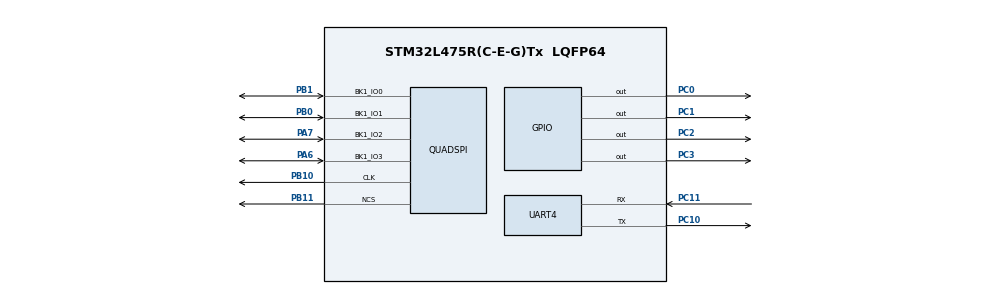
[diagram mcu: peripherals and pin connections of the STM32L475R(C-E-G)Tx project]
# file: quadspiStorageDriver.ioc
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Mcu.Family=STM32L4
Mcu.Name=STM32L475R(C-E-G)Tx
Mcu.Package=LQFP64
NVIC.PriorityGroup=NVIC_PRIORITYGROUP_4
NVIC.UART4_IRQn=true\:0\:0\:false\:false\:true\:true\:true\:true
PA6.Mode=Single Bank
PA6.Signal=QUADSPI_BK1_IO3
PA7.Mode=Single Bank
PA7.Signal=QUADSPI_BK1_IO2
PB0.Mode=Single Bank
PB0.Signal=QUADSPI_BK1_IO1
PB1.Mode=Single Bank
PB1.Signal=QUADSPI_BK1_IO0
PB10.Mode=Single Bank
PB10.Signal=QUADSPI_CLK
PB11.Mode=Single Bank
PB11.Signal=QUADSPI_NCS
PC0.Signal=GPIO_Output
PC1.Signal=GPIO_Output
PC10.Mode=Asynchronous
PC10.Signal=UART4_TX
PC11.Mode=Asynchronous
PC11.Signal=UART4_RX
PC2.Signal=GPIO_Output
PC3.Signal=GPIO_Output
ProjectManager.HeapSize=0x200
ProjectManager.StackSize=0x400
ProjectManager.TargetToolchain=CMake
QUADSPI.ClockPrescaler-Single\ Bank=1
QUADSPI.FifoThreshold-Single\ Bank=4
QUADSPI.SampleShifting-Single\ Bank=QSPI_SAMPLE_SHIFTING_HALFCYCLE
RCC.HSE_VALUE=8000000
RCC.HSI_VALUE=16000000
RCC.LSE_VALUE=32768
RCC.MSI_VALUE=4000000
RCC.VCOOutputFreq_Value=32000000
board=custom

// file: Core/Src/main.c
/* USER CODE BEGIN Header */
/**
  ******************************************************************************
  * @file           : main.c
  * @brief          : Main program body
  ******************************************************************************
  * @attention
  *
  * Copyright (c) 2025 STMicroelectronics.
  * All rights reserved.
  *
  * This software is licensed under terms that can be found in the LICENSE file
  * in the root directory of this software component.
  * If no LICENSE file comes with this software, it is provided AS-IS.
  *
  ******************************************************************************
  */
/* USER CODE END Header */
#include "main.h"

/* USER CODE BEGIN Includes */

#include "w25n01gv.h"
#include "lfs.h"
#include "lfs_util.h"

/* USER CODE END Includes */

/* USER CODE BEGIN PD */

#define LOGICAL_PAGE_SIZE 2048

/* USER CODE END PD */

QSPI_HandleTypeDef hqspi;

UART_HandleTypeDef huart4;

/* USER CODE BEGIN PV */

const struct lfs_config cfg =
{
  .read = W25N_Read,
  .prog = W25N_Write,
  .erase = W25N_Erase,
  .sync = W25N_Sync,

  .read_size = PAGE_SIZE,
  .prog_size = PAGE_SIZE,
  .block_size = BLOCK_SIZE,
  .block_count = BLOCK_COUNT,
  .cache_size = PAGE_SIZE,
  .lookahead_size = 16,
  .block_cycles = -1,
};

lfs_t lfs;
lfs_file_t file;

/* USER CODE END PV */

void SystemClock_Config(void);
static void MX_GPIO_Init(void);
static void MX_QUADSPI_Init(void);
static void MX_UART4_Init(void);

int main(void)
{

  /* MCU Configuration--------------------------------------------------------*/

  /* Reset of all peripherals, Initializes the Flash interface and the Systick. */
  HAL_Init();

  /* Configure the system clock */
  SystemClock_Config();

  /* Initialize all configured peripherals */
  MX_GPIO_Init();
  MX_QUADSPI_Init();
  MX_UART4_Init();
  /* USER CODE BEGIN 2 */
  W25N_Reset();
  W25N_Init();

  uint8_t buffer[2048] = {0};

  W25N_Read_Buffer(0, buffer, 18);

  // mount the filesystem
  int err = lfs_mount(&lfs, &cfg);

  // reformat if we can't mount the filesystem
  // this should only happen on the first boot
  if (err) {
      err = lfs_format(&lfs, &cfg);
      err = lfs_mount(&lfs, &cfg);
  }

  /* USER CODE END 2 */

  /* Infinite loop */
  while (1)
  {

  }
}

void SystemClock_Config(void)
{
  RCC_OscInitTypeDef RCC_OscInitStruct = {0};
  RCC_ClkInitTypeDef RCC_ClkInitStruct = {0};

  /** Configure the main internal regulator output voltage
  */
  if (HAL_PWREx_ControlVoltageScaling(PWR_REGULATOR_VOLTAGE_SCALE1) != HAL_OK)
  {
    Error_Handler();
  }

  /** Initializes the RCC Oscillators according to the specified parameters
  * in the RCC_OscInitTypeDef structure.
  */
  RCC_OscInitStruct.OscillatorType = RCC_OSCILLATORTYPE_MSI;
  RCC_OscInitStruct.MSIState = RCC_MSI_ON;
  RCC_OscInitStruct.MSICalibrationValue = 30;
  RCC_OscInitStruct.MSIClockRange = RCC_MSIRANGE_6;
  RCC_OscInitStruct.PLL.PLLState = RCC_PLL_NONE;
  if (HAL_RCC_OscConfig(&RCC_OscInitStruct) != HAL_OK)
  {
    Error_Handler();
  }

  /** Initializes the CPU, AHB and APB buses clocks
  */
  RCC_ClkInitStruct.ClockType = RCC_CLOCKTYPE_HCLK|RCC_CLOCKTYPE_SYSCLK
                              |RCC_CLOCKTYPE_PCLK1|RCC_CLOCKTYPE_PCLK2;
  RCC_ClkInitStruct.SYSCLKSource = RCC_SYSCLKSOURCE_MSI;
  RCC_ClkInitStruct.AHBCLKDivider = RCC_SYSCLK_DIV1;
  RCC_ClkInitStruct.APB1CLKDivider = RCC_HCLK_DIV1;
  RCC_ClkInitStruct.APB2CLKDivider = RCC_HCLK_DIV1;

  if (HAL_RCC_ClockConfig(&RCC_ClkInitStruct, FLASH_LATENCY_0) != HAL_OK)
  {
    Error_Handler();
  }
}

static void MX_QUADSPI_Init(void)
{

  /* QUADSPI parameter configuration*/
  hqspi.Instance = QUADSPI;
  hqspi.Init.ClockPrescaler = 1;
  hqspi.Init.FifoThreshold = 4;
  hqspi.Init.SampleShifting = QSPI_SAMPLE_SHIFTING_NONE;
  hqspi.Init.FlashSize = 30;
  hqspi.Init.ChipSelectHighTime = QSPI_CS_HIGH_TIME_1_CYCLE;
  hqspi.Init.ClockMode = QSPI_CLOCK_MODE_3;
  if (HAL_QSPI_Init(&hqspi) != HAL_OK)
  {
    Error_Handler();
  }

}

static void MX_UART4_Init(void)
{

  huart4.Instance = UART4;
  huart4.Init.BaudRate = 115200;
  huart4.Init.WordLength = UART_WORDLENGTH_8B;
  huart4.Init.StopBits = UART_STOPBITS_1;
  huart4.Init.Parity = UART_PARITY_NONE;
  huart4.Init.Mode = UART_MODE_TX_RX;
  huart4.Init.HwFlowCtl = UART_HWCONTROL_NONE;
  huart4.Init.OverSampling = UART_OVERSAMPLING_16;
  huart4.Init.OneBitSampling = UART_ONE_BIT_SAMPLE_DISABLE;
  huart4.AdvancedInit.AdvFeatureInit = UART_ADVFEATURE_NO_INIT;
  if (HAL_UART_Init(&huart4) != HAL_OK)
  {
    Error_Handler();
  }

}

static void MX_GPIO_Init(void)
{
  GPIO_InitTypeDef GPIO_InitStruct = {0};

  /* GPIO Ports Clock Enable */
  __HAL_RCC_GPIOC_CLK_ENABLE();
  __HAL_RCC_GPIOA_CLK_ENABLE();
  __HAL_RCC_GPIOB_CLK_ENABLE();

  /*Configure GPIO pin Output Level */
  HAL_GPIO_WritePin(GPIOC, GPIO_PIN_0|GPIO_PIN_1|GPIO_PIN_2|GPIO_PIN_3, GPIO_PIN_RESET);

  /*Configure GPIO pins : PC0 PC1 PC2 PC3 */
  GPIO_InitStruct.Pin = GPIO_PIN_0|GPIO_PIN_1|GPIO_PIN_2|GPIO_PIN_3;
  GPIO_InitStruct.Mode = GPIO_MODE_OUTPUT_PP;
  GPIO_InitStruct.Pull = GPIO_NOPULL;
  GPIO_InitStruct.Speed = GPIO_SPEED_FREQ_LOW;
  HAL_GPIO_Init(GPIOC, &GPIO_InitStruct);

}

void Error_Handler(void)
{
  __disable_irq();
  while (1)
  {
  }
}
